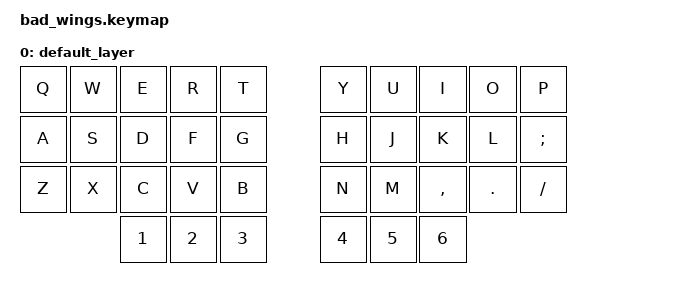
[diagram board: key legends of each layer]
/*
 * Copyright (c) 2020 The ZMK Contributors
 *
 * SPDX-License-Identifier: MIT
 */

#include <behaviors.dtsi>
#include <dt-bindings/zmk/keys.h>
#include <dt-bindings/zmk/bt.h>

/ {
    combos {
        compatible = "zmk,combos";
        combo_bootloader {
            timeout-ms = <50>;
            key-positions = <0 1>;
            bindings = <&bootloader>;
        };
    };
};

/ {
    keymap {
        compatible = "zmk,keymap";

        default_layer {
            bindings = <
&kp Q &kp W &kp E &kp R &kp T   &kp Y &kp U &kp I &kp O &kp P
&kp A &kp S &kp D &kp F &kp G   &kp H &kp J &kp K &kp L &kp SEMI
&kp Z &kp X &kp C &kp V &kp B   &kp N &kp M &kp COMMA &kp DOT &kp FSLH
&kp N1 &kp N2 &kp N3    &kp N4 &kp N5 &kp N6
            >;
        };
    };
};
